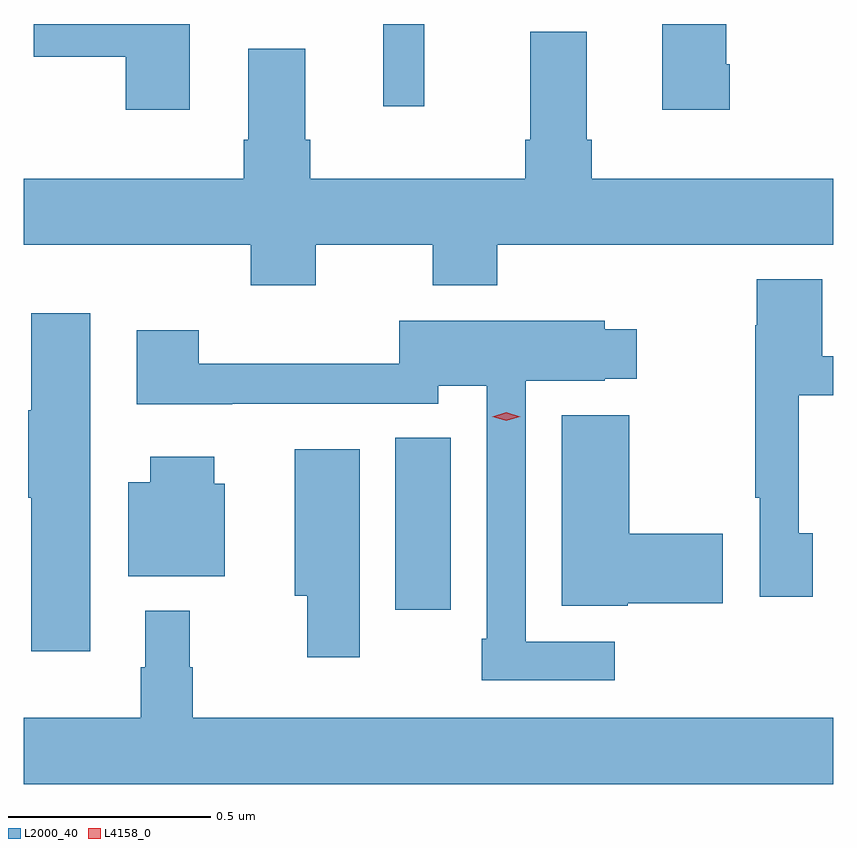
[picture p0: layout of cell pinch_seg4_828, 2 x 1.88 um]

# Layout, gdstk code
import gdstk
lib = gdstk.Library(unit=1e-6, precision=1e-09)
def R(c, l, rs):  # rectangles x0, y0, x1, y1
    for r in rs: c.add(gdstk.rectangle(r[:2], r[2:], *l))
def P(c, l, *ps):  # polygons
    for p in ps: c.add(gdstk.Polygon(p, *l))
L2000_40 = (2000, 40)
L4158_0 = (4158, 0)

pinch_seg4_828 = lib.new_cell('pinch_seg4_828')
R(pinch_seg4_828, L2000_40, [(780.734,791.922,780.871,792.347), (780.704,793.167,780.806,793.37)])
P(pinch_seg4_828, L2000_40, [(781.56,793.27),(781.552,793.27),(781.552,793.37),(781.394,793.37),(781.394,793.158),(781.56,793.158)],
  [(780.226,793.37),(779.84,793.37),(779.84,793.289),(780.068,793.289),(780.068,793.158),(780.226,793.158)],
  [(780.537,792.824),(780.826,792.824),(780.826,792.725),(780.986,792.725),(780.986,792.824),(781.816,792.824),(781.816,792.988),(781.22,792.988),(781.22,793.084),(781.207,793.084),(781.207,793.351),(781.067,793.351),(781.067,793.084),(781.055,793.084),(781.055,792.988),(780.524,792.988),(780.524,793.084),(780.511,793.084),(780.511,793.309),(780.371,793.309),(780.371,793.084),(780.359,793.084),(780.359,792.988),(779.816,792.988),(779.816,792.824),(780.377,792.824),(780.377,792.725),(780.537,792.725)],
  [(781.765,792.111),(781.731,792.111),(781.731,792.453),(781.816,792.453),(781.816,792.549),(781.789,792.549),(781.789,792.739),(781.627,792.739),(781.627,792.626),(781.623,792.626),(781.623,792.199),(781.635,792.199),(781.635,791.955),(781.765,791.955)],
  [(779.98,792.655),(779.834,792.655),(779.834,792.416),(779.827,792.416),(779.827,792.199),(779.834,792.199),(779.834,791.82),(779.98,791.82)],
  [(781.276,791.844),(781.056,791.844),(781.056,792.488),(781.251,792.488),(781.251,792.494),(781.33,792.494),(781.33,792.616),(781.251,792.616),(781.251,792.637),(780.744,792.637),(780.744,792.53),(780.248,792.53),(780.248,792.613),(780.095,792.613),(780.095,792.431),(780.331,792.431),(780.331,792.432),(780.84,792.432),(780.84,792.476),(780.96,792.476),(780.96,791.851),(780.948,791.851),(780.948,791.748),(781.276,791.748)],
  [(781.308,791.939),(781.543,791.939),(781.543,792.11),(781.312,792.11),(781.312,792.403),(781.145,792.403),(781.145,791.933),(781.308,791.933)],
  [(780.646,792.319),(780.485,792.319),(780.485,791.957),(780.517,791.957),(780.517,791.805),(780.646,791.805)],
  [(780.313,792.234),(780.286,792.234),(780.286,792.301),(780.128,792.301),(780.128,792.238),(780.074,792.238),(780.074,792.005),(780.313,792.005)],
  [(781.816,791.656),(780.233,791.656),(780.233,791.78),(780.226,791.78),(780.226,791.92),(780.116,791.92),(780.116,791.78),(780.105,791.78),(780.105,791.656),(779.816,791.656),(779.816,791.492),(781.816,791.492)])
P(pinch_seg4_828, L4158_0, [(781.008,792.39),(780.973,792.399),(780.972,792.4),(780.973,792.4),(781.008,792.41),(781.043,792.4),(781.043,792.4),(781.043,792.4)])

lib.write_gds('pinch_seg4_828.gds')
